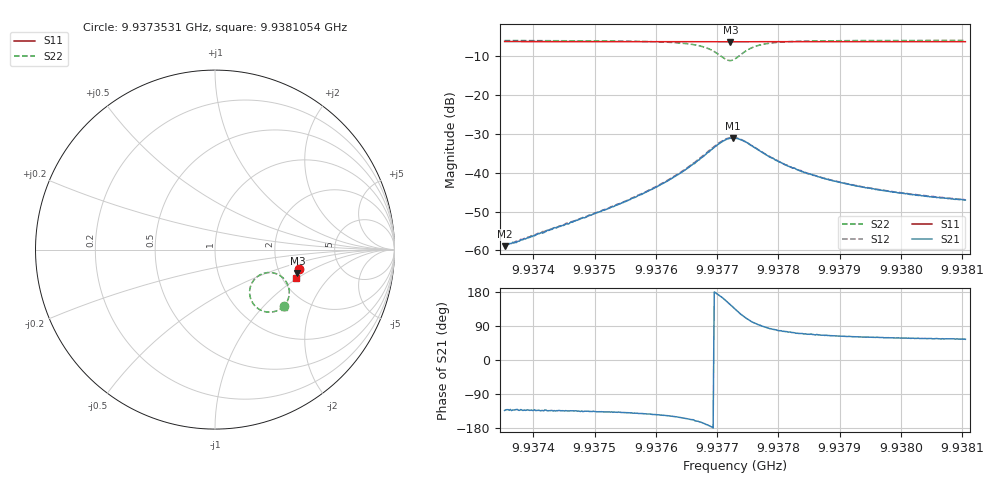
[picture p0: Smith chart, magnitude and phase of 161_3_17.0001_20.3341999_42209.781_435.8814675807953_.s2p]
#  HZ  S  RI  R  50.00
! Rohde & Schwarz Vector Network Analyzer
! Rohde-Schwarz,ZNB20-2Port,1311601062101988,3.16
! Created: UTC 3/20/2024, 10:59:16 PM
! freq[Hz]  re:S11  im:S11  re:S21  im:S21  re:S12  im:S12  re:S22  im:S22
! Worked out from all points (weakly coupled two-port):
!   401 points, 9.9373531 GHz to 9.9381054 GHz, reference 50 ohm
!   highest |S21| = -31.09 dB at 9.9377255 GHz (marker M1); lowest = -58.9 dB at 9.9373531 GHz (marker M2)
!   lowest |S11| = -6.4 dB at 9.9377217 GHz (marker M3), VSWR 2.83, Z = 124 - j42.9 ohm
!   |S11| at or under -10 dB: nowhere
!   |S22| runs from -11.2 to -6.0 dB; largest |S21 - S12| = 0.0013
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9.93735313e9  0.4705 -0.1101  -0.000775 -0.000828  -0.000813 -0.000862  0.3851 -0.3145
9.93736629e9  0.4704 -0.1107  -0.000852 -0.000945  -0.000849 -0.000929  0.3838 -0.3156
9.93747913e9  0.4679 -0.1184  -0.00182 -0.00184  -0.00188 -0.00181  0.3697 -0.3271
9.93754872e9  0.4662 -0.1231  -0.00318 -0.00278  -0.00326 -0.00274  0.3543 -0.3362
9.93760514e9  0.4648 -0.1271  -0.00556 -0.00393  -0.00575 -0.00392  0.3307 -0.3451
9.93764463e9  0.4634 -0.1298  -0.00926 -0.00473  -0.00955 -0.0047  0.298 -0.3483
9.93768036e9  0.4619 -0.1321  -0.0165 -0.0033  -0.017 -0.00311  0.2393 -0.3282
9.93769353e9  0.4609 -0.1326  -0.0205 -0.000266  -0.021 0.000155  0.2111 -0.2987
9.93770481e9  0.4602 -0.133  -0.0235 0.00463  -0.0239 0.00531  0.1941 -0.2545
9.93771421e9  0.4598 -0.133  -0.0244 0.0105  -0.0245 0.0115  0.1976 -0.2061
9.93772174e9  0.4596 -0.1328  -0.0228 0.0156  -0.0227 0.0166  0.2181 -0.1679
9.9377255e9  0.4596 -0.1328  -0.0213 0.018  -0.021 0.0189  0.2337 -0.1521
9.93772926e9  0.4599 -0.1327  -0.0193 0.0198  -0.0189 0.0208  0.2523 -0.1402
9.93773866e9  0.4601 -0.1329  -0.0136 0.0228  -0.013 0.0234  0.3018 -0.1278
9.93775183e9  0.4608 -0.1335  -0.00642 0.0224  -0.00562 0.0228  0.3575 -0.1419
9.93777251e9  0.4611 -0.1352  1.64e-05 0.0184  0.000734 0.0185  0.4 -0.1846
9.93781389e9  0.4607 -0.1386  0.0032 0.0119  0.00363 0.012  0.4141 -0.2426
9.93785526e9  0.4598 -0.1416  0.00362 0.00871  0.00381 0.00849  0.4095 -0.2708
9.93790604e9  0.4587 -0.1452  0.00337 0.0065  0.00352 0.0065  0.4022 -0.2893
9.93798127e9  0.4568 -0.1503  0.00299 0.00489  0.00307 0.0049  0.3933 -0.305
9.93805085e9  0.4549 -0.1547  0.0027 0.00406  0.00279 0.00407  0.3865 -0.3144
9.93810539e9  0.4536 -0.1583  0.00257 0.00362  0.00262 0.00362  0.3819 -0.3202
